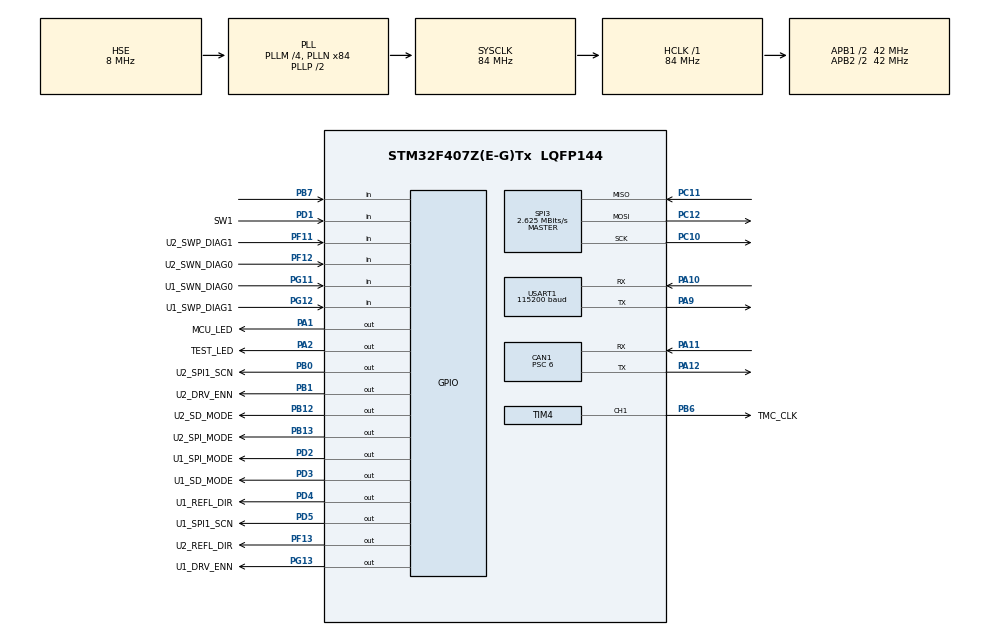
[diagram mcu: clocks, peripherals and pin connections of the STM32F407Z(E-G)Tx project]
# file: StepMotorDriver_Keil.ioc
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CAN1.ABOM=ENABLE
CAN1.BS1=CAN_BS1_11TQ
CAN1.BS2=CAN_BS2_2TQ
CAN1.CalculateBaudRate=500000
CAN1.CalculateTimeBit=2000
CAN1.CalculateTimeQuantum=142.85714285714286
CAN1.Mode=CAN_MODE_NORMAL
CAN1.Prescaler=6
CAN1.RFLM=DISABLE
CAN1.SJW=CAN_SJW_2TQ
CAN1.TXFP=DISABLE
IWDG.Prescaler=IWDG_PRESCALER_32
IWDG.Reload=2000
Mcu.Family=STM32F4
Mcu.Name=STM32F407Z(E-G)Tx
Mcu.Package=LQFP144
NVIC.CAN1_RX0_IRQn=true\:0\:0\:true\:false\:true\:true\:true\:true
NVIC.PriorityGroup=NVIC_PRIORITYGROUP_4
NVIC.TIM5_IRQn=true\:3\:0\:true\:false\:true\:true\:true\:true
NVIC.TIM7_IRQn=true\:2\:0\:true\:false\:false\:true\:true\:true
NVIC.USART1_IRQn=true\:1\:0\:true\:false\:false\:true\:true\:true
PA1.GPIO_Label=MCU_LED
PA1.PinState=GPIO_PIN_SET
PA1.Signal=GPIO_Output
PA10.Mode=Asynchronous
PA10.Signal=USART1_RX
PA11.Mode=CAN_Activate
PA11.Signal=CAN1_RX
PA12.Mode=CAN_Activate
PA12.Signal=CAN1_TX
PA13.Mode=Serial_Wire
PA13.Signal=SYS_JTMS-SWDIO
PA14.Mode=Serial_Wire
PA14.Signal=SYS_JTCK-SWCLK
PA2.GPIO_Label=TEST_LED
PA2.Signal=GPIO_Output
PA9.Mode=Asynchronous
PA9.Signal=USART1_TX
PB0.GPIO_Label=U2_SPI1_SCN
PB0.PinState=GPIO_PIN_SET
PB0.Signal=GPIO_Output
PB1.GPIO_Label=U2_DRV_ENN
PB1.PinState=GPIO_PIN_SET
PB1.Signal=GPIO_Output
PB10.Signal=S_TIM2_CH3
PB12.GPIO_Label=U2_SD_MODE
PB12.Signal=GPIO_Output
PB13.GPIO_Label=U2_SPI_MODE
PB13.PinState=GPIO_PIN_SET
PB13.Signal=GPIO_Output
PB6.GPIO_Label=TMC_CLK
PB6.GPIO_Speed=GPIO_SPEED_FREQ_VERY_HIGH
PB6.Signal=S_TIM4_CH1
PB7.GPIO_PuPd=GPIO_NOPULL
PB7.Signal=GPIO_Input
PC10.Mode=Full_Duplex_Master
PC10.Signal=SPI3_SCK
PC11.Mode=Full_Duplex_Master
PC11.Signal=SPI3_MISO
PC12.Mode=Full_Duplex_Master
PC12.Signal=SPI3_MOSI
PC6.Signal=S_TIM3_CH1
PD1.GPIO_Label=SW1
PD1.GPIO_PuPd=GPIO_PULLUP
PD1.Signal=GPIO_Input
PD2.GPIO_Label=U1_SPI_MODE
PD2.PinState=GPIO_PIN_SET
PD2.Signal=GPIO_Output
PD3.GPIO_Label=U1_SD_MODE
PD3.Signal=GPIO_Output
PD4.GPIO_Label=U1_REFL_DIR
PD4.Signal=GPIO_Output
PD5.GPIO_Label=U1_SPI1_SCN
PD5.PinState=GPIO_PIN_SET
PD5.Signal=GPIO_Output
PF11.GPIO_Label=U2_SWP_DIAG1
PF11.Signal=GPIO_Input
PF12.GPIO_Label=U2_SWN_DIAG0
PF12.Signal=GPIO_Input
PF13.GPIO_Label=U2_REFL_DIR
PF13.Signal=GPIO_Output
PG11.GPIO_Label=U1_SWN_DIAG0
PG11.Signal=GPIO_Input
PG12.GPIO_Label=U1_SWP_DIAG1
PG12.Signal=GPIO_Input
PG13.GPIO_Label=U1_DRV_ENN
PG13.PinState=GPIO_PIN_SET
PG13.Signal=GPIO_Output
PH0-OSC_IN.Mode=HSE-External-Oscillator
PH0-OSC_IN.Signal=RCC_OSC_IN
PH1-OSC_OUT.Mode=HSE-External-Oscillator
PH1-OSC_OUT.Signal=RCC_OSC_OUT
ProjectManager.HeapSize=0x200
ProjectManager.StackSize=0x400
ProjectManager.TargetToolchain=MDK-ARM V5.32
RCC.48MHZClocksFreq_Value=42000000
RCC.AHBFreq_Value=84000000
RCC.APB1CLKDivider=RCC_HCLK_DIV2
RCC.APB1Freq_Value=42000000
RCC.APB1TimFreq_Value=84000000
RCC.APB2CLKDivider=RCC_HCLK_DIV2
RCC.APB2Freq_Value=42000000
RCC.APB2TimFreq_Value=84000000
RCC.CortexFreq_Value=84000000
RCC.HCLKFreq_Value=84000000
RCC.HSE_VALUE=8000000
RCC.HSICalibrationValue=8
RCC.HSI_VALUE=16000000
RCC.LSE_VALUE=32768
RCC.PLLM=4
RCC.PLLN=84
RCC.PLLSourceVirtual=RCC_PLLSOURCE_HSE
RCC.SYSCLKFreq_VALUE=84000000
RCC.SYSCLKSource=RCC_SYSCLKSOURCE_PLLCLK
RCC.VCOOutputFreq_Value=168000000
SH.S_TIM2_CH3.0=TIM2_CH3
SH.S_TIM3_CH1.0=TIM3_CH1
SH.S_TIM4_CH1.0=TIM4_CH1,PWM Generation1 CH1
SPI3.BaudRatePrescaler=SPI_BAUDRATEPRESCALER_16
SPI3.CLKPhase=SPI_PHASE_2EDGE
SPI3.CLKPolarity=SPI_POLARITY_HIGH
SPI3.CalculateBaudRate=2.625 MBits/s
SPI3.Direction=SPI_DIRECTION_2LINES
SPI3.Mode=SPI_MODE_MASTER
SPI3.VirtualType=VM_MASTER
TIM4.AutoReloadPreload=TIM_AUTORELOAD_PRELOAD_ENABLE
TIM4.Channel-PWM\ Generation1\ CH1=TIM_CHANNEL_1
TIM4.OCFastMode_PWM-PWM\ Generation1\ CH1=TIM_OCFAST_ENABLE
TIM4.Period=5
TIM4.Prescaler=0
TIM4.Pulse-PWM\ Generation1\ CH1=3
TIM5.Period=4999
TIM5.Prescaler=8399
TIM7.Period=1999
TIM7.Prescaler=83
TIM9.Period=99
TIM9.Prescaler=83
USART1.BaudRate=115200
USART1.VirtualMode=VM_ASYNC
VP_IWDG_VS_IWDG.Mode=IWDG_Activate
VP_TIM4_VS_ClockSourceINT.Mode=Internal
VP_TIM5_VS_ClockSourceINT.Mode=Internal
VP_TIM7_VS_ClockSourceINT.Mode=Enable_Timer
VP_TIM9_VS_ClockSourceINT.Mode=Internal
board=custom

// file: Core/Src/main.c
/* USER CODE BEGIN Header */
/**
  ******************************************************************************
  * @file           : main.c
  * @brief          : Main program body
  ******************************************************************************
  * @attention
  *
  * Copyright (c) 2026 STMicroelectronics.
  * All rights reserved.
  *
  * This software is licensed under terms that can be found in the LICENSE file
  * in the root directory of this software component.
  * If no LICENSE file comes with this software, it is provided AS-IS.
  *
  ******************************************************************************
  */
/* USER CODE END Header */
#include "main.h"
#include "can.h"
#include "iwdg.h"
#include "spi.h"
#include "tim.h"
#include "usart.h"
#include "gpio.h"

/* USER CODE BEGIN Includes */
#include "usr/queue.h"
#include "drv/can_drv.h"
#include "usr/can_usr.h"
#include "usr/tmc5160_usr.h"
#include "usr/motor_ctrl.h"
#include "usr/closed_loop.h"
#include "drv/rtt_dbg.h"
/* USER CODE END Includes */

/* USER CODE BEGIN PV */
/* 闭环节拍标志：TIM7 ISR 置位（stm32f4xx_it.c），主循环消费 */
volatile uint8_t g_cl_tick_flag = 0;
/* CAN 调试遥测节流：主循环每 ~500ms 发一次（HAL_GetTick 1ms） */
/* USER CODE END PV */

void SystemClock_Config(void);

int main(void)
{

  /* MCU Configuration--------------------------------------------------------*/

  /* Reset of all peripherals, Initializes the Flash interface and the Systick. */
  HAL_Init();

  /* Configure the system clock */
  SystemClock_Config();

  /* Initialize all configured peripherals */
  MX_GPIO_Init();
  MX_CAN1_Init();
  MX_TIM4_Init();
  //MX_IWDG_Init();
  MX_USART1_UART_Init();
  MX_TIM5_Init();
  MX_SPI3_Init();
  MX_TIM7_Init();
  MX_TIM9_Init();
  /* USER CODE BEGIN 2 */
  QUEUE_Init(&g_queue_st);
  DRV_CAN_Init();
  USR_CAN_Init();
  USR_TMC5160_Init();
  USR_MOTOR_Init();
  USR_CLOSEDLOOP_Init();
  RTT_DBG_Init();
  RTT_DBG_Str("RTT ready\r\n");
  /* USER CODE END 2 */

  /* Infinite loop */
  /* USER CODE BEGIN WHILE */
  while (1)
  {
    USR_CAN_Process();

    /* RTT 心跳遥测：1Hz 打印两电机实际/编码器位置 */
    {
      static uint32_t s_rtt_last_tick = 0;
      uint32_t now = HAL_GetTick();
      if ((now - s_rtt_last_tick) >= 1000)
      {
        s_rtt_last_tick = now;
        RTT_DBG_Printf("[t=%u] U1 act=%d enc=%d | U2 act=%d enc=%d\r\n",
                       (unsigned)now,
                       (int)USR_MOTOR_GetPosition(MOTOR_CTRL_U1),
                       (int)USR_MOTOR_GetEncoderPosition(MOTOR_CTRL_U1),
                       (int)USR_MOTOR_GetPosition(MOTOR_CTRL_U2),
                       (int)USR_MOTOR_GetEncoderPosition(MOTOR_CTRL_U2));
      }
    }

//    /* 闭环控制：TIM7 ISR 触发，在主循环中执行 SPI 操作 */
//    if (g_cl_tick_flag)
//    {
//      g_cl_tick_flag = 0;
//      USR_CLOSEDLOOP_Tick(MOTOR_CTRL_U1);
//      USR_CLOSEDLOOP_Tick(MOTOR_CTRL_U2);
//    }

    USR_TMC5160_SaveConfig();
    /* 独立看门狗喂狗 */
    //HAL_IWDG_Refresh(&hiwdg);
    /* USER CODE END WHILE */

  }
}

void SystemClock_Config(void)
{
  RCC_OscInitTypeDef RCC_OscInitStruct = {0};
  RCC_ClkInitTypeDef RCC_ClkInitStruct = {0};

  /** Configure the main internal regulator output voltage
  */
  __HAL_RCC_PWR_CLK_ENABLE();
  __HAL_PWR_VOLTAGESCALING_CONFIG(PWR_REGULATOR_VOLTAGE_SCALE1);

  /** Initializes the RCC Oscillators according to the specified parameters
  * in the RCC_OscInitTypeDef structure.
  */
  RCC_OscInitStruct.OscillatorType = RCC_OSCILLATORTYPE_LSI|RCC_OSCILLATORTYPE_HSE;
  RCC_OscInitStruct.HSEState = RCC_HSE_ON;
  RCC_OscInitStruct.LSIState = RCC_LSI_ON;
  RCC_OscInitStruct.PLL.PLLState = RCC_PLL_ON;
  RCC_OscInitStruct.PLL.PLLSource = RCC_PLLSOURCE_HSE;
  RCC_OscInitStruct.PLL.PLLM = 4;
  RCC_OscInitStruct.PLL.PLLN = 84;
  RCC_OscInitStruct.PLL.PLLP = RCC_PLLP_DIV2;
  RCC_OscInitStruct.PLL.PLLQ = 4;
  if (HAL_RCC_OscConfig(&RCC_OscInitStruct) != HAL_OK)
  {
    Error_Handler();
  }

  /** Initializes the CPU, AHB and APB buses clocks
  */
  RCC_ClkInitStruct.ClockType = RCC_CLOCKTYPE_HCLK|RCC_CLOCKTYPE_SYSCLK
                              |RCC_CLOCKTYPE_PCLK1|RCC_CLOCKTYPE_PCLK2;
  RCC_ClkInitStruct.SYSCLKSource = RCC_SYSCLKSOURCE_PLLCLK;
  RCC_ClkInitStruct.AHBCLKDivider = RCC_SYSCLK_DIV1;
  RCC_ClkInitStruct.APB1CLKDivider = RCC_HCLK_DIV2;
  RCC_ClkInitStruct.APB2CLKDivider = RCC_HCLK_DIV2;

  if (HAL_RCC_ClockConfig(&RCC_ClkInitStruct, FLASH_LATENCY_2) != HAL_OK)
  {
    Error_Handler();
  }
}

void Error_Handler(void)
{
  __disable_irq();
  while (1)
  {
  }
}
